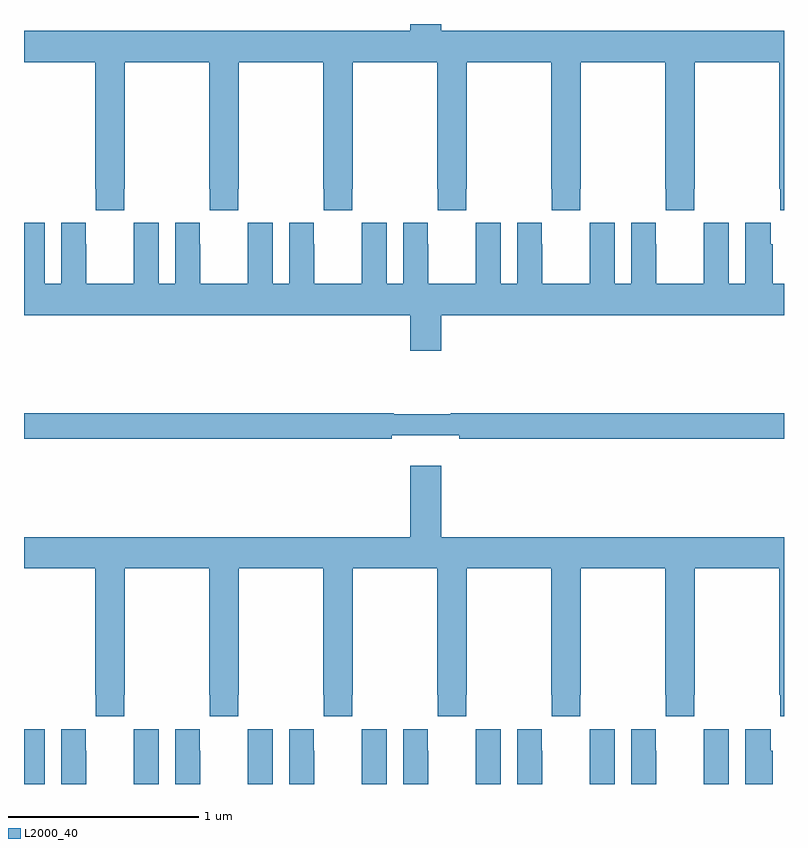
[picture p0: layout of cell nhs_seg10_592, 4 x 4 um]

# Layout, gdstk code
import gdstk
lib = gdstk.Library(unit=1e-6, precision=1e-09)
def R(c, l, rs):  # rectangles x0, y0, x1, y1
    for r in rs: c.add(gdstk.rectangle(r[:2], r[2:], *l))
def P(c, l, *ps):  # polygons
    for p in ps: c.add(gdstk.Polygon(p, *l))
L2000_40 = (2000, 40)

nhs_seg10_592 = lib.new_cell('nhs_seg10_592')
R(nhs_seg10_592, L2000_40, [(139,1312.5,139.108,1312.789)])
P(nhs_seg10_592, L2000_40, [(139.527,1315.633),(139.53,1315.633),(139.53,1316.3),(139.975,1316.3),(139.975,1315.633),(139.977,1315.633),(139.977,1315.521),(140.127,1315.521),(140.127,1315.633),(140.13,1315.633),(140.13,1316.3),(140.575,1316.3),(140.575,1315.633),(140.577,1315.633),(140.577,1315.521),(140.727,1315.521),(140.727,1315.633),(140.73,1315.633),(140.73,1316.3),(141.175,1316.3),(141.175,1315.633),(141.177,1315.633),(141.177,1315.521),(141.327,1315.521),(141.327,1315.633),(141.33,1315.633),(141.33,1316.3),(141.775,1316.3),(141.775,1315.633),(141.777,1315.633),(141.777,1315.521),(141.927,1315.521),(141.927,1315.633),(141.93,1315.633),(141.93,1316.3),(142.375,1316.3),(142.375,1315.633),(142.377,1315.633),(142.377,1315.521),(142.527,1315.521),(142.527,1315.633),(142.53,1315.633),(142.53,1316.3),(142.975,1316.3),(142.975,1315.633),(142.981,1315.633),(142.981,1315.521),(143,1315.521),(143,1316.464),(141.196,1316.464),(141.196,1316.5),(141.032,1316.5),(141.032,1316.464),(139,1316.464),(139,1316.3),(139.375,1316.3),(139.375,1315.633),(139.377,1315.633),(139.377,1315.521),(139.527,1315.521)],
  [(141.196,1314.968),(143,1314.968),(143,1315.132),(142.94,1315.132),(142.94,1315.34),(142.93,1315.34),(142.93,1315.453),(142.796,1315.453),(142.796,1315.132),(142.708,1315.132),(142.708,1315.453),(142.578,1315.453),(142.578,1315.34),(142.577,1315.34),(142.577,1315.132),(142.327,1315.132),(142.327,1315.34),(142.326,1315.34),(142.326,1315.453),(142.196,1315.453),(142.196,1315.132),(142.108,1315.132),(142.108,1315.453),(141.978,1315.453),(141.978,1315.34),(141.977,1315.34),(141.977,1315.132),(141.727,1315.132),(141.727,1315.34),(141.726,1315.34),(141.726,1315.453),(141.596,1315.453),(141.596,1315.132),(141.508,1315.132),(141.508,1315.453),(141.378,1315.453),(141.378,1315.34),(141.377,1315.34),(141.377,1315.132),(141.127,1315.132),(141.127,1315.34),(141.126,1315.34),(141.126,1315.453),(140.996,1315.453),(140.996,1315.132),(140.908,1315.132),(140.908,1315.453),(140.778,1315.453),(140.778,1315.34),(140.777,1315.34),(140.777,1315.132),(140.527,1315.132),(140.527,1315.34),(140.526,1315.34),(140.526,1315.453),(140.396,1315.453),(140.396,1315.132),(140.308,1315.132),(140.308,1315.453),(140.178,1315.453),(140.178,1315.34),(140.177,1315.34),(140.177,1315.132),(139.927,1315.132),(139.927,1315.34),(139.926,1315.34),(139.926,1315.453),(139.796,1315.453),(139.796,1315.132),(139.708,1315.132),(139.708,1315.453),(139.578,1315.453),(139.578,1315.34),(139.577,1315.34),(139.577,1315.132),(139.327,1315.132),(139.327,1315.34),(139.326,1315.34),(139.326,1315.453),(139.196,1315.453),(139.196,1315.132),(139.108,1315.132),(139.108,1315.453),(139,1315.453),(139,1314.968),(141.032,1314.968),(141.032,1314.78),(141.196,1314.78)],
  [(140.936,1314.335),(141.292,1314.335),(141.292,1314.316),(143,1314.316),(143,1314.452),(141.245,1314.452),(141.245,1314.445),(140.945,1314.445),(140.945,1314.452),(139,1314.452),(139,1314.316),(140.936,1314.316)],
  [(139.527,1312.969),(139.53,1312.969),(139.53,1313.636),(139.975,1313.636),(139.975,1312.969),(139.977,1312.969),(139.977,1312.857),(140.127,1312.857),(140.127,1312.969),(140.13,1312.969),(140.13,1313.636),(140.575,1313.636),(140.575,1312.969),(140.577,1312.969),(140.577,1312.857),(140.727,1312.857),(140.727,1312.969),(140.73,1312.969),(140.73,1313.636),(141.175,1313.636),(141.175,1312.969),(141.177,1312.969),(141.177,1312.857),(141.327,1312.857),(141.327,1312.969),(141.33,1312.969),(141.33,1313.636),(141.775,1313.636),(141.775,1312.969),(141.777,1312.969),(141.777,1312.857),(141.927,1312.857),(141.927,1312.969),(141.93,1312.969),(141.93,1313.636),(142.375,1313.636),(142.375,1312.969),(142.377,1312.969),(142.377,1312.857),(142.527,1312.857),(142.527,1312.969),(142.53,1312.969),(142.53,1313.636),(142.975,1313.636),(142.975,1312.969),(142.981,1312.969),(142.981,1312.857),(143,1312.857),(143,1313.8),(141.196,1313.8),(141.196,1314.175),(141.032,1314.175),(141.032,1313.8),(139,1313.8),(139,1313.636),(139.375,1313.636),(139.375,1312.969),(139.377,1312.969),(139.377,1312.857),(139.527,1312.857)],
  [(142.94,1312.676),(142.93,1312.676),(142.93,1312.789),(142.796,1312.789),(142.796,1312.5),(142.94,1312.5)],
  [(142.708,1312.789),(142.578,1312.789),(142.578,1312.676),(142.577,1312.676),(142.577,1312.5),(142.708,1312.5)],
  [(142.327,1312.676),(142.326,1312.676),(142.326,1312.789),(142.196,1312.789),(142.196,1312.5),(142.327,1312.5)],
  [(141.727,1312.676),(141.726,1312.676),(141.726,1312.789),(141.596,1312.789),(141.596,1312.5),(141.727,1312.5)],
  [(141.508,1312.789),(141.378,1312.789),(141.378,1312.676),(141.377,1312.676),(141.377,1312.5),(141.508,1312.5)],
  [(141.127,1312.676),(141.126,1312.676),(141.126,1312.789),(140.996,1312.789),(140.996,1312.5),(141.127,1312.5)],
  [(140.908,1312.789),(140.778,1312.789),(140.778,1312.676),(140.777,1312.676),(140.777,1312.5),(140.908,1312.5)],
  [(140.527,1312.676),(140.526,1312.676),(140.526,1312.789),(140.396,1312.789),(140.396,1312.5),(140.527,1312.5)],
  [(140.308,1312.789),(140.178,1312.789),(140.178,1312.676),(140.177,1312.676),(140.177,1312.5),(140.308,1312.5)],
  [(139.927,1312.676),(139.926,1312.676),(139.926,1312.789),(139.796,1312.789),(139.796,1312.5),(139.927,1312.5)],
  [(139.708,1312.789),(139.578,1312.789),(139.578,1312.676),(139.577,1312.676),(139.577,1312.5),(139.708,1312.5)],
  [(139.327,1312.676),(139.326,1312.676),(139.326,1312.789),(139.196,1312.789),(139.196,1312.5),(139.327,1312.5)],
  [(142.108,1312.789),(141.978,1312.789),(141.978,1312.676),(141.977,1312.676),(141.977,1312.5),(142.108,1312.5)])

lib.write_gds('nhs_seg10_592.gds')
